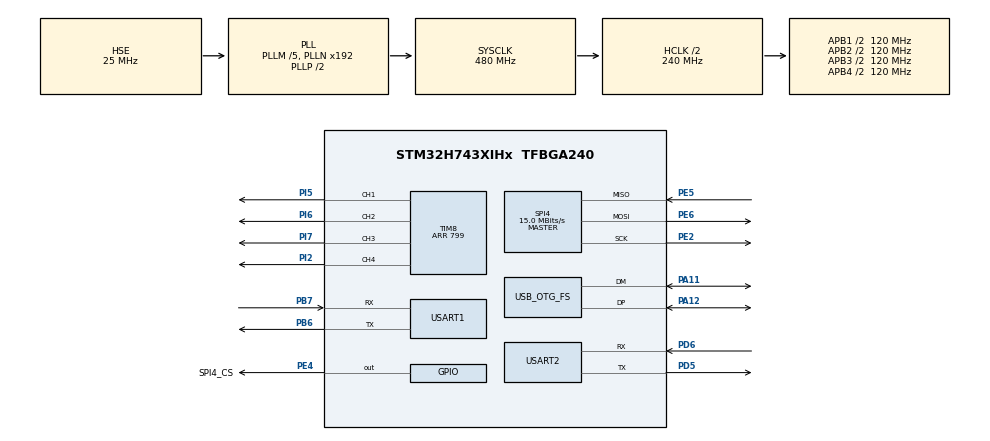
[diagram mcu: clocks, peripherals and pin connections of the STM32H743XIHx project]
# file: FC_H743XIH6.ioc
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CORTEX_M7.AccessPermission_Spec=MPU_REGION_FULL_ACCESS
CORTEX_M7.BaseAddress_Spec=0x30000000
CORTEX_M7.CPU_DCache=Enabled
CORTEX_M7.CPU_ICache=Enabled
CORTEX_M7.Size_Spec=MPU_REGION_SIZE_1KB
CORTEX_M7.TypeExtField_Spec=MPU_TEX_LEVEL1
CORTEX_M7.default_mode_Activation=1
Dma.Request0=USART1_RX
Dma.Request1=TIM8_CH1
Dma.Request2=TIM8_CH2
Dma.Request3=TIM8_CH3
Dma.Request4=TIM8_CH4
Dma.Request5=USART2_RX
Dma.TIM8_CH1.1.Direction=DMA_MEMORY_TO_PERIPH
Dma.TIM8_CH1.1.EventEnable=DISABLE
Dma.TIM8_CH1.1.FIFOMode=DMA_FIFOMODE_DISABLE
Dma.TIM8_CH1.1.Instance=DMA1_Stream1
Dma.TIM8_CH1.1.MemDataAlignment=DMA_MDATAALIGN_WORD
Dma.TIM8_CH1.1.MemInc=DMA_MINC_ENABLE
Dma.TIM8_CH1.1.Mode=DMA_NORMAL
Dma.TIM8_CH1.1.PeriphDataAlignment=DMA_PDATAALIGN_WORD
Dma.TIM8_CH1.1.PeriphInc=DMA_PINC_DISABLE
Dma.TIM8_CH1.1.Polarity=HAL_DMAMUX_REQ_GEN_RISING
Dma.TIM8_CH1.1.Priority=DMA_PRIORITY_LOW
Dma.TIM8_CH1.1.RequestNumber=1
Dma.TIM8_CH1.1.SignalID=NONE
Dma.TIM8_CH1.1.SyncEnable=DISABLE
Dma.TIM8_CH1.1.SyncPolarity=HAL_DMAMUX_SYNC_NO_EVENT
Dma.TIM8_CH1.1.SyncRequestNumber=1
Dma.TIM8_CH1.1.SyncSignalID=NONE
Dma.TIM8_CH2.2.Direction=DMA_MEMORY_TO_PERIPH
Dma.TIM8_CH2.2.EventEnable=DISABLE
Dma.TIM8_CH2.2.FIFOMode=DMA_FIFOMODE_DISABLE
Dma.TIM8_CH2.2.Instance=DMA1_Stream2
Dma.TIM8_CH2.2.MemDataAlignment=DMA_MDATAALIGN_WORD
Dma.TIM8_CH2.2.MemInc=DMA_MINC_ENABLE
Dma.TIM8_CH2.2.Mode=DMA_NORMAL
Dma.TIM8_CH2.2.PeriphDataAlignment=DMA_PDATAALIGN_WORD
Dma.TIM8_CH2.2.PeriphInc=DMA_PINC_DISABLE
Dma.TIM8_CH2.2.Polarity=HAL_DMAMUX_REQ_GEN_RISING
Dma.TIM8_CH2.2.Priority=DMA_PRIORITY_LOW
Dma.TIM8_CH2.2.RequestNumber=1
Dma.TIM8_CH2.2.SignalID=NONE
Dma.TIM8_CH2.2.SyncEnable=DISABLE
Dma.TIM8_CH2.2.SyncPolarity=HAL_DMAMUX_SYNC_NO_EVENT
Dma.TIM8_CH2.2.SyncRequestNumber=1
Dma.TIM8_CH2.2.SyncSignalID=NONE
Dma.TIM8_CH3.3.Direction=DMA_MEMORY_TO_PERIPH
Dma.TIM8_CH3.3.EventEnable=DISABLE
Dma.TIM8_CH3.3.FIFOMode=DMA_FIFOMODE_DISABLE
Dma.TIM8_CH3.3.Instance=DMA1_Stream3
Dma.TIM8_CH3.3.MemDataAlignment=DMA_MDATAALIGN_WORD
Dma.TIM8_CH3.3.MemInc=DMA_MINC_ENABLE
Dma.TIM8_CH3.3.Mode=DMA_NORMAL
Dma.TIM8_CH3.3.PeriphDataAlignment=DMA_PDATAALIGN_WORD
Dma.TIM8_CH3.3.PeriphInc=DMA_PINC_DISABLE
Dma.TIM8_CH3.3.Polarity=HAL_DMAMUX_REQ_GEN_RISING
Dma.TIM8_CH3.3.Priority=DMA_PRIORITY_LOW
Dma.TIM8_CH3.3.RequestNumber=1
Dma.TIM8_CH3.3.SignalID=NONE
Dma.TIM8_CH3.3.SyncEnable=DISABLE
Dma.TIM8_CH3.3.SyncPolarity=HAL_DMAMUX_SYNC_NO_EVENT
Dma.TIM8_CH3.3.SyncRequestNumber=1
Dma.TIM8_CH3.3.SyncSignalID=NONE
Dma.TIM8_CH4.4.Direction=DMA_MEMORY_TO_PERIPH
Dma.TIM8_CH4.4.EventEnable=DISABLE
Dma.TIM8_CH4.4.FIFOMode=DMA_FIFOMODE_DISABLE
Dma.TIM8_CH4.4.Instance=DMA1_Stream4
Dma.TIM8_CH4.4.MemDataAlignment=DMA_MDATAALIGN_WORD
Dma.TIM8_CH4.4.MemInc=DMA_MINC_ENABLE
Dma.TIM8_CH4.4.Mode=DMA_NORMAL
Dma.TIM8_CH4.4.PeriphDataAlignment=DMA_PDATAALIGN_WORD
Dma.TIM8_CH4.4.PeriphInc=DMA_PINC_DISABLE
Dma.TIM8_CH4.4.Polarity=HAL_DMAMUX_REQ_GEN_RISING
Dma.TIM8_CH4.4.Priority=DMA_PRIORITY_LOW
Dma.TIM8_CH4.4.RequestNumber=1
Dma.TIM8_CH4.4.SignalID=NONE
Dma.TIM8_CH4.4.SyncEnable=DISABLE
Dma.TIM8_CH4.4.SyncPolarity=HAL_DMAMUX_SYNC_NO_EVENT
Dma.TIM8_CH4.4.SyncRequestNumber=1
Dma.TIM8_CH4.4.SyncSignalID=NONE
Dma.USART1_RX.0.Direction=DMA_PERIPH_TO_MEMORY
Dma.USART1_RX.0.EventEnable=DISABLE
Dma.USART1_RX.0.FIFOMode=DMA_FIFOMODE_DISABLE
Dma.USART1_RX.0.Instance=DMA1_Stream0
Dma.USART1_RX.0.MemDataAlignment=DMA_MDATAALIGN_BYTE
Dma.USART1_RX.0.MemInc=DMA_MINC_ENABLE
Dma.USART1_RX.0.Mode=DMA_CIRCULAR
Dma.USART1_RX.0.PeriphDataAlignment=DMA_PDATAALIGN_BYTE
Dma.USART1_RX.0.PeriphInc=DMA_PINC_DISABLE
Dma.USART1_RX.0.Polarity=HAL_DMAMUX_REQ_GEN_RISING
Dma.USART1_RX.0.Priority=DMA_PRIORITY_LOW
Dma.USART1_RX.0.RequestNumber=1
Dma.USART1_RX.0.SignalID=NONE
Dma.USART1_RX.0.SyncEnable=DISABLE
Dma.USART1_RX.0.SyncPolarity=HAL_DMAMUX_SYNC_NO_EVENT
Dma.USART1_RX.0.SyncRequestNumber=1
Dma.USART1_RX.0.SyncSignalID=NONE
Dma.USART2_RX.5.Direction=DMA_PERIPH_TO_MEMORY
Dma.USART2_RX.5.EventEnable=DISABLE
Dma.USART2_RX.5.FIFOMode=DMA_FIFOMODE_DISABLE
Dma.USART2_RX.5.Instance=DMA1_Stream5
Dma.USART2_RX.5.MemDataAlignment=DMA_MDATAALIGN_BYTE
Dma.USART2_RX.5.MemInc=DMA_MINC_ENABLE
Dma.USART2_RX.5.Mode=DMA_CIRCULAR
Dma.USART2_RX.5.PeriphDataAlignment=DMA_PDATAALIGN_BYTE
Dma.USART2_RX.5.PeriphInc=DMA_PINC_DISABLE
Dma.USART2_RX.5.Polarity=HAL_DMAMUX_REQ_GEN_RISING
Dma.USART2_RX.5.Priority=DMA_PRIORITY_HIGH
Dma.USART2_RX.5.RequestNumber=1
Dma.USART2_RX.5.SignalID=NONE
Dma.USART2_RX.5.SyncEnable=DISABLE
Dma.USART2_RX.5.SyncPolarity=HAL_DMAMUX_SYNC_NO_EVENT
Dma.USART2_RX.5.SyncRequestNumber=1
Dma.USART2_RX.5.SyncSignalID=NONE
FREERTOS.Tasks01=Task_System,24,256,StartTask_System,Default,NULL,Dynamic,NULL,NULL;Task_FlightCont,48,1024,StartTask_FlightControl,Default,NULL,Dynamic,NULL,NULL;Task_RC_Update,32,512,StartTask_RC,Default,NULL,Dynamic,NULL,NULL
FREERTOS.configUSE_NEWLIB_REENTRANT=1
Mcu.Family=STM32H7
Mcu.Name=STM32H743XIHx
Mcu.Package=TFBGA240
NVIC.DMA1_Stream0_IRQn=true\:5\:0\:false\:false\:true\:true\:false\:true\:true
NVIC.DMA1_Stream1_IRQn=true\:5\:0\:false\:false\:true\:true\:false\:true\:true
NVIC.DMA1_Stream2_IRQn=true\:5\:0\:false\:false\:true\:true\:false\:true\:true
NVIC.DMA1_Stream3_IRQn=true\:5\:0\:false\:false\:true\:true\:false\:true\:true
NVIC.DMA1_Stream4_IRQn=true\:5\:0\:false\:false\:true\:true\:false\:true\:true
NVIC.DMA1_Stream5_IRQn=true\:5\:0\:false\:false\:true\:true\:false\:true\:true
NVIC.OTG_FS_IRQn=true\:5\:0\:false\:false\:true\:true\:false\:true\:true
NVIC.PriorityGroup=NVIC_PRIORITYGROUP_4
NVIC.TIM6_DAC_IRQn=true\:15\:0\:false\:false\:true\:false\:false\:true\:true
NVIC.TimeBase=TIM6_DAC_IRQn
NVIC.TimeBaseIP=TIM6
NVIC.USART1_IRQn=true\:5\:0\:false\:false\:true\:true\:true\:true\:true
NVIC.USART2_IRQn=true\:5\:0\:false\:false\:true\:true\:true\:true\:true
PA11.Mode=Device_Only
PA11.Signal=USB_OTG_FS_DM
PA12.Mode=Device_Only
PA12.Signal=USB_OTG_FS_DP
PA13\ (JTMS/SWDIO).Mode=Serial_Wire
PA13\ (JTMS/SWDIO).Signal=DEBUG_JTMS-SWDIO
PA14\ (JTCK/SWCLK).Mode=Serial_Wire
PA14\ (JTCK/SWCLK).Signal=DEBUG_JTCK-SWCLK
PB6.Mode=Asynchronous
PB6.Signal=USART1_TX
PB7.Mode=Asynchronous
PB7.Signal=USART1_RX
PD5.Mode=Asynchronous
PD5.Signal=USART2_TX
PD6.Mode=Asynchronous
PD6.Signal=USART2_RX
PE2.Mode=Full_Duplex_Master
PE2.Signal=SPI4_SCK
PE4.GPIO_Label=SPI4_CS
PE4.GPIO_Speed=GPIO_SPEED_FREQ_VERY_HIGH
PE4.Signal=GPIO_Output
PE5.Mode=Full_Duplex_Master
PE5.Signal=SPI4_MISO
PE6.Mode=Full_Duplex_Master
PE6.Signal=SPI4_MOSI
PH0-OSC_IN\ (PH0).Mode=HSE-External-Oscillator
PH0-OSC_IN\ (PH0).Signal=RCC_OSC_IN
PH1-OSC_OUT\ (PH1).Mode=HSE-External-Oscillator
PH1-OSC_OUT\ (PH1).Signal=RCC_OSC_OUT
PI2.Signal=S_TIM8_CH4
PI5.Signal=S_TIM8_CH1
PI6.Signal=S_TIM8_CH2
PI7.Signal=S_TIM8_CH3
ProjectManager.HeapSize=0x200
ProjectManager.StackSize=0x400
ProjectManager.TargetToolchain=STM32CubeIDE
RCC.ADCFreq_Value=50390625
RCC.APB1Freq_Value=120000000
RCC.APB2Freq_Value=120000000
RCC.APB3Freq_Value=120000000
RCC.APB4Freq_Value=120000000
RCC.CortexFreq_Value=480000000
RCC.D1PPRE=RCC_APB3_DIV2
RCC.D2PPRE1=RCC_APB1_DIV2
RCC.D2PPRE2=RCC_APB2_DIV2
RCC.D3PPRE=RCC_APB4_DIV2
RCC.DIVM1=5
RCC.DIVN1=192
RCC.DIVQ1=15
RCC.HCLKFreq_Value=240000000
RCC.HPRE=RCC_HCLK_DIV2
RCC.PLL2FRACN=0
RCC.PLL3FRACN=0
RCC.PLLFRACN=0
RCC.PLLSourceVirtual=RCC_PLLSOURCE_HSE
RCC.SYSCLKFreq_VALUE=480000000
RCC.SYSCLKSource=RCC_SYSCLKSOURCE_PLLCLK
RCC.USBCLockSelection=RCC_USBCLKSOURCE_HSI48
RCC.USBFreq_Value=48000000
SH.S_TIM8_CH1.0=TIM8_CH1,PWM Generation1 CH1
SH.S_TIM8_CH2.0=TIM8_CH2,PWM Generation2 CH2
SH.S_TIM8_CH3.0=TIM8_CH3,PWM Generation3 CH3
SH.S_TIM8_CH4.0=TIM8_CH4,PWM Generation4 CH4
SPI4.BaudRatePrescaler=SPI_BAUDRATEPRESCALER_8
SPI4.CLKPhase=SPI_PHASE_2EDGE
SPI4.CLKPolarity=SPI_POLARITY_HIGH
SPI4.CalculateBaudRate=15.0 MBits/s
SPI4.DataSize=SPI_DATASIZE_8BIT
SPI4.Direction=SPI_DIRECTION_2LINES
SPI4.Mode=SPI_MODE_MASTER
SPI4.VirtualType=VM_MASTER
TIM8.Channel-PWM\ Generation1\ CH1=TIM_CHANNEL_1
TIM8.Channel-PWM\ Generation2\ CH2=TIM_CHANNEL_2
TIM8.Channel-PWM\ Generation3\ CH3=TIM_CHANNEL_3
TIM8.Channel-PWM\ Generation4\ CH4=TIM_CHANNEL_4
TIM8.Period=799
USART1.VirtualMode-Asynchronous=VM_ASYNC
USART2.VirtualMode-Asynchronous=VM_ASYNC
USB_DEVICE.CLASS_NAME_FS=CDC
USB_DEVICE.VirtualMode-CDC_FS=Cdc
USB_DEVICE.VirtualModeFS=Cdc_FS
USB_OTG_FS.VirtualMode=Device_Only
VP_FREERTOS_VS_CMSIS_V2.Mode=CMSIS_V2
VP_MEMORYMAP_VS_MEMORYMAP.Mode=CurAppReg
VP_SYS_VS_tim6.Mode=TIM6
VP_TIM8_VS_ClockSourceINT.Mode=Internal
VP_USB_DEVICE_VS_USB_DEVICE_CDC_FS.Mode=CDC_FS
board=custom

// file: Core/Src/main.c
/* USER CODE BEGIN Header */
/**
  ******************************************************************************
  * @file           : main.c
  * @brief          : Main program body
  ******************************************************************************
  * @attention
  *
  * Copyright (c) 2026 STMicroelectronics.
  * All rights reserved.
  *
  * This software is licensed under terms that can be found in the LICENSE file
  * in the root directory of this software component.
  * If no LICENSE file comes with this software, it is provided AS-IS.
  *
  ******************************************************************************
  */
/* USER CODE END Header */
#include "main.h"
#include "cmsis_os.h"
#include "dma.h"
#include "spi.h"
#include "tim.h"
#include "usart.h"
#include "usb_device.h"
#include "gpio.h"

void SystemClock_Config(void);
static void MPU_Config(void);
void MX_FREERTOS_Init(void);

int main(void)
{

  /* MPU Configuration--------------------------------------------------------*/
  MPU_Config();

  /* Enable the CPU Cache */

  /* Enable I-Cache---------------------------------------------------------*/
  SCB_EnableICache();

  /* Enable D-Cache---------------------------------------------------------*/
  SCB_EnableDCache();

  /* MCU Configuration--------------------------------------------------------*/

  /* Reset of all peripherals, Initializes the Flash interface and the Systick. */
  HAL_Init();

  /* Configure the system clock */
  SystemClock_Config();

  /* Initialize all configured peripherals */
  MX_GPIO_Init();
  MX_DMA_Init();
  MX_SPI4_Init();
  MX_USART1_UART_Init();
  MX_TIM8_Init();
  MX_USART2_UART_Init();

  /* Init scheduler */
  osKernelInitialize();  /* Call init function for freertos objects (in cmsis_os2.c) */
  MX_FREERTOS_Init();

  /* Start scheduler */
  osKernelStart();

  /* We should never get here as control is now taken by the scheduler */

  /* Infinite loop */
  while (1)
  {

  }
}

void SystemClock_Config(void)
{
  RCC_OscInitTypeDef RCC_OscInitStruct = {0};
  RCC_ClkInitTypeDef RCC_ClkInitStruct = {0};

  /** Supply configuration update enable
  */
  HAL_PWREx_ConfigSupply(PWR_LDO_SUPPLY);

  /** Configure the main internal regulator output voltage
  */
  __HAL_PWR_VOLTAGESCALING_CONFIG(PWR_REGULATOR_VOLTAGE_SCALE0);

  while(!__HAL_PWR_GET_FLAG(PWR_FLAG_VOSRDY)) {}

  /** Initializes the RCC Oscillators according to the specified parameters
  * in the RCC_OscInitTypeDef structure.
  */
  RCC_OscInitStruct.OscillatorType = RCC_OSCILLATORTYPE_HSI48|RCC_OSCILLATORTYPE_HSE;
  RCC_OscInitStruct.HSEState = RCC_HSE_ON;
  RCC_OscInitStruct.HSI48State = RCC_HSI48_ON;
  RCC_OscInitStruct.PLL.PLLState = RCC_PLL_ON;
  RCC_OscInitStruct.PLL.PLLSource = RCC_PLLSOURCE_HSE;
  RCC_OscInitStruct.PLL.PLLM = 5;
  RCC_OscInitStruct.PLL.PLLN = 192;
  RCC_OscInitStruct.PLL.PLLP = 2;
  RCC_OscInitStruct.PLL.PLLQ = 15;
  RCC_OscInitStruct.PLL.PLLR = 2;
  RCC_OscInitStruct.PLL.PLLRGE = RCC_PLL1VCIRANGE_2;
  RCC_OscInitStruct.PLL.PLLVCOSEL = RCC_PLL1VCOWIDE;
  RCC_OscInitStruct.PLL.PLLFRACN = 0;
  if (HAL_RCC_OscConfig(&RCC_OscInitStruct) != HAL_OK)
  {
    Error_Handler();
  }

  /** Initializes the CPU, AHB and APB buses clocks
  */
  RCC_ClkInitStruct.ClockType = RCC_CLOCKTYPE_HCLK|RCC_CLOCKTYPE_SYSCLK
                              |RCC_CLOCKTYPE_PCLK1|RCC_CLOCKTYPE_PCLK2
                              |RCC_CLOCKTYPE_D3PCLK1|RCC_CLOCKTYPE_D1PCLK1;
  RCC_ClkInitStruct.SYSCLKSource = RCC_SYSCLKSOURCE_PLLCLK;
  RCC_ClkInitStruct.SYSCLKDivider = RCC_SYSCLK_DIV1;
  RCC_ClkInitStruct.AHBCLKDivider = RCC_HCLK_DIV2;
  RCC_ClkInitStruct.APB3CLKDivider = RCC_APB3_DIV2;
  RCC_ClkInitStruct.APB1CLKDivider = RCC_APB1_DIV2;
  RCC_ClkInitStruct.APB2CLKDivider = RCC_APB2_DIV2;
  RCC_ClkInitStruct.APB4CLKDivider = RCC_APB4_DIV2;

  if (HAL_RCC_ClockConfig(&RCC_ClkInitStruct, FLASH_LATENCY_4) != HAL_OK)
  {
    Error_Handler();
  }
}

 /* MPU Configuration */

void MPU_Config(void)
{
  MPU_Region_InitTypeDef MPU_InitStruct = {0};

  /* Disables the MPU */
  HAL_MPU_Disable();

  /** Initializes and configures the Region and the memory to be protected
  */
  MPU_InitStruct.Enable = MPU_REGION_ENABLE;
  MPU_InitStruct.Number = MPU_REGION_NUMBER0;
  MPU_InitStruct.BaseAddress = 0x30000000;
  MPU_InitStruct.Size = MPU_REGION_SIZE_1KB;
  MPU_InitStruct.SubRegionDisable = 0x87;
  MPU_InitStruct.TypeExtField = MPU_TEX_LEVEL1;
  MPU_InitStruct.AccessPermission = MPU_REGION_FULL_ACCESS;
  MPU_InitStruct.DisableExec = MPU_INSTRUCTION_ACCESS_DISABLE;
  MPU_InitStruct.IsShareable = MPU_ACCESS_SHAREABLE;
  MPU_InitStruct.IsCacheable = MPU_ACCESS_NOT_CACHEABLE;
  MPU_InitStruct.IsBufferable = MPU_ACCESS_NOT_BUFFERABLE;

  HAL_MPU_ConfigRegion(&MPU_InitStruct);
  /* Enables the MPU */
  HAL_MPU_Enable(MPU_PRIVILEGED_DEFAULT);

}

void HAL_TIM_PeriodElapsedCallback(TIM_HandleTypeDef *htim)
{
  if (htim->Instance == TIM6)
  {
    HAL_IncTick();
  }
}

void Error_Handler(void)
{
  __disable_irq();
  while (1)
  {
  }
}

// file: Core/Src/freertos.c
/* USER CODE BEGIN Header */
/**
  ******************************************************************************
  * File Name          : freertos.c
  * Description        : Code for freertos applications
  ******************************************************************************
  * @attention
  *
  * Copyright (c) 2026 STMicroelectronics.
  * All rights reserved.
  *
  * This software is licensed under terms that can be found in the LICENSE file
  * in the root directory of this software component.
  * If no LICENSE file comes with this software, it is provided AS-IS.
  *
  ******************************************************************************
  */
/* USER CODE END Header */

#include "FreeRTOS.h"
#include "task.h"
#include "main.h"
#include "cmsis_os.h"

/* USER CODE BEGIN Includes */
#include "usbd_cdc_if.h"
#include "string.h"
#include "stdio.h"
#include "icm42688.h"
#include "madgwick_filter.h"
#include "drv_motor.h"
#include "mixer.h"
#include "flight_state.h"
#include "drv_rc.h"
#include "mavlink_rx.h"

extern SPI_HandleTypeDef hspi4;

/* USER CODE END Includes */

/* USER CODE BEGIN Variables */
ICM42688_Data_t imu_data;
Madgwick_t mw_filter;
/* USER CODE END Variables */
/* Definitions for Task_System */
osThreadId_t Task_SystemHandle;
const osThreadAttr_t Task_System_attributes = {
  .name = "Task_System",
  .stack_size = 1024 * 4,
  .priority = (osPriority_t) osPriorityNormal,
};
/* Definitions for Task_FlightCont */
osThreadId_t Task_FlightContHandle;
const osThreadAttr_t Task_FlightCont_attributes = {
  .name = "Task_FlightCont",
  .stack_size = 1024 * 4,
  .priority = (osPriority_t) osPriorityRealtime,
};
/* Definitions for Task_RC_Update */
osThreadId_t Task_RC_UpdateHandle;
const osThreadAttr_t Task_RC_Update_attributes = {
  .name = "Task_RC_Update",
  .stack_size = 512 * 4,
  .priority = (osPriority_t) osPriorityAboveNormal,
};

void StartTask_System(void *argument);
void StartTask_FlightControl(void *argument);
void StartTask_RC(void *argument);

extern void MX_USB_DEVICE_Init(void);
void MX_FREERTOS_Init(void); /* (MISRA C 2004 rule 8.1) */

void MX_FREERTOS_Init(void) {

  /* Create the thread(s) */
  /* creation of Task_System */
  Task_SystemHandle = osThreadNew(StartTask_System, NULL, &Task_System_attributes);

  /* creation of Task_FlightCont */
  Task_FlightContHandle = osThreadNew(StartTask_FlightControl, NULL, &Task_FlightCont_attributes);

  /* creation of Task_RC_Update */
  Task_RC_UpdateHandle = osThreadNew(StartTask_RC, NULL, &Task_RC_Update_attributes);

}

void StartTask_System(void *argument)
{
  /* init code for USB_DEVICE */
  MX_USB_DEVICE_Init();
  /* USER CODE BEGIN StartTask_System */
  MAVLink_Init();
  /* Infinite loop */
  for(;;)
  {
	  MAVLink_Task_Process();
    osDelay(1);
  }
  /* USER CODE END StartTask_System */
}

void StartTask_FlightControl(void *argument)
{
  /* USER CODE BEGIN StartTask_FlightControl */
	osDelay(500);

	//Init IMU
	ICM42688_Init(&hspi4);
	ICM42688_Calibrate();

	Madgwick_Init(&mw_filter, 0.1f);

	//Init Motor & Flight System;
	Motor_Init();
	FlightState_Init();
	Mixer_Init();
	flight_status.is_calibrated = 1;

	uint32_t last_tick = osKernelGetTickCount();
	const uint32_t loop_period = 1;
	float dt = 0.001f;

	  /* Infinite loop */
		for(;;){
			 ICM42688_Read_All(&imu_data);
			 Madgwick_Update(
					 &mw_filter,
					 imu_data.gyro_x, imu_data.gyro_y, imu_data.gyro_z,
					 imu_data.acc_x, imu_data.acc_y, imu_data.acc_z,
					 dt);
			 if(flight_status.state == STATE_ARMED){
				 float roll_target 	= ((float)rc_data.roll 	- 1500.0f) / 500.0f * 45.0f;
				 float pitch_target = ((float)rc_data.pitch - 1500.0f) / 500.0f * 45.0f;
				 float yaw_target 	= ((float)rc_data.yaw 	- 1500.0f) / 500.0f * 180.0f;

				 float t = (float)(rc_data.throttle - 1000) / 1000.0f;
				 if(t < 0.0f) t = 0.0f;
				 if(t > 1.0f) t = 1.0f;
				 uint16_t throttle_final = (uint16_t)(t * 1000.0f);
				 if(rc_data.throttle < 1010) throttle_final = 0;
				 else if(throttle_final < 60) throttle_final = 60;

				 MotorOutput_t motors = Mixer_Compute(
						 	 	 throttle_final,
								 mw_filter.roll, mw_filter.pitch,
								 imu_data.gyro_x, imu_data.gyro_y, imu_data.gyro_z,
								 roll_target, pitch_target, yaw_target, dt);

				 Motor_SetDShot(MOTOR_1, 48 + (motors.m1 * 1999) / 1000);
				 Motor_SetDShot(MOTOR_2, 48 + (motors.m2 * 1999) / 1000);
				 Motor_SetDShot(MOTOR_3, 48 + (motors.m3 * 1999) / 1000);
				 Motor_SetDShot(MOTOR_4, 48 + (motors.m4 * 1999) / 1000);
			 } else {
				 Motor_Stop();
				 PID_Reset(&pid_roll);
				 PID_Reset(&pid_pitch);
				 PID_Reset(&pid_yaw);

				 PID_Reset(&pid_angle_roll);
				 PID_Reset(&pid_angle_pitch);
			 }
			 last_tick += loop_period;
			 osDelayUntil(last_tick);
		}
  /* USER CODE END StartTask_FlightControl */
}

void StartTask_RC(void *argument)
{
  /* USER CODE BEGIN StartTask_RC */
	DRV_RC_Init();

	 static char rc_buf[128];
	 static int rc_print = 0;
  /* Infinite loop */
  for(;;)
  {
	  DRV_RC_ParseData();
	  DRV_RC_IsHealthy();
	  FlightState_Update();

	  // DEBUG: in ra mỗi 500ms
	  if(++rc_print >= 25) { // Sửa số 5 thành 25 để nó in nhanh hơn (500ms) vì vòng lặp chạy 20ms
	  	      snprintf(rc_buf, sizeof(rc_buf),
	  	          "R: %5.1f | P: %5.1f | dX: %d | dY: %d | Alt: %.2f | Sq: %d\r\n",
	  	          mw_filter.roll,
	                mw_filter.pitch,
	                optical_flow_data.flow_x,
	                optical_flow_data.flow_y,
	                optical_flow_data.altitude_m,
	                optical_flow_data.quality);

	  	      CDC_Transmit_FS((uint8_t*)rc_buf, strlen(rc_buf));
	  	      rc_print = 0;
	        }
  osDelay(20);
  }
  /* USER CODE END StartTask_RC */
}
